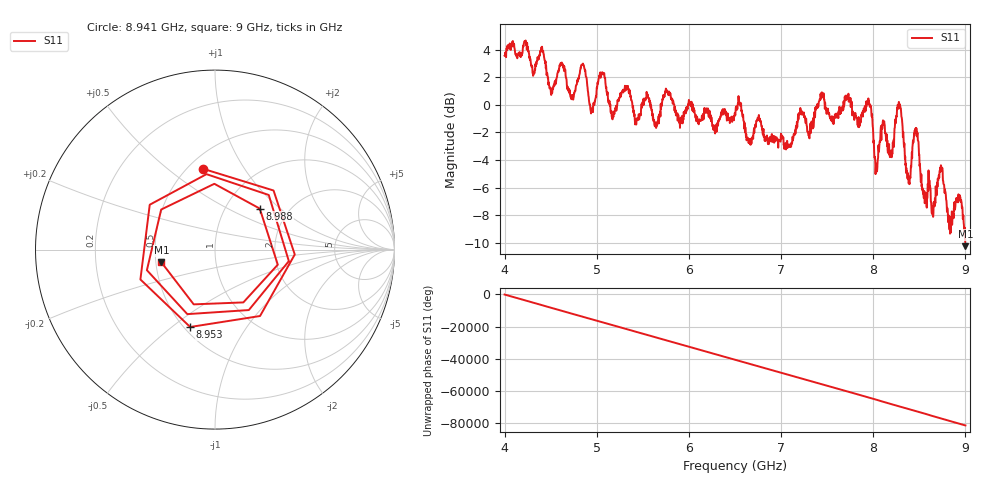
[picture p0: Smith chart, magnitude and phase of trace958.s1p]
! Created with skrf 1.8.0 (http://scikit-rf.org).
# Hz S RI R 50.0
!freq ReS11 ImS11
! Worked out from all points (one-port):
!   1601 points, 4 GHz to 9 GHz, reference 50 ohm
!   lowest |S11| = -10.3 dB at 9 GHz (marker M1), VSWR 1.89, Z = 26.8 - j4.18 ohm
!   |S11| at or under -10 dB: 8.998619 GHz to end of sweep
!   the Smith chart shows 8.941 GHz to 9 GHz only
!   S11 on the Smith chart (normalised r, x): 8.941 GHz: 0.59, +0.67; 8.953 GHz: 0.54, -0.58; 8.988 GHz: 1.44, +0.74; 9 GHz: 0.54, -0.08
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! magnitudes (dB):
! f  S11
! 4 GHz  3.6
! 4.406 GHz  4.2
! 4.506 GHz  0.7
! 4.625 GHz  2.9
! 4.734 GHz  0.6
! 4.853 GHz  2.9
! 4.944 GHz  -0.4
! 5.056 GHz  2.2
! 5.166 GHz  -0.9
! 5.25 GHz  0.6
! 5.875 GHz  -0.6
! 6.5 GHz  -0.6
! 7.125 GHz  -2.3
! 7.438 GHz  0.9
! 7.75 GHz  0.3
! 7.953 GHz  0.3
! 8.038 GHz  -4.7
! 8.2 GHz  -3.8
! 8.284 GHz  -0.2
! 8.375 GHz  -5.0
! 8.466 GHz  -1.7
! 8.562 GHz  -6.8
! 8.728 GHz  -4.5
! 8.834 GHz  -9.3
! 8.941 GHz  -6.8
! 8.953 GHz  -6.9
! 8.988 GHz  -9.4
! 9 GHz  -10.3
